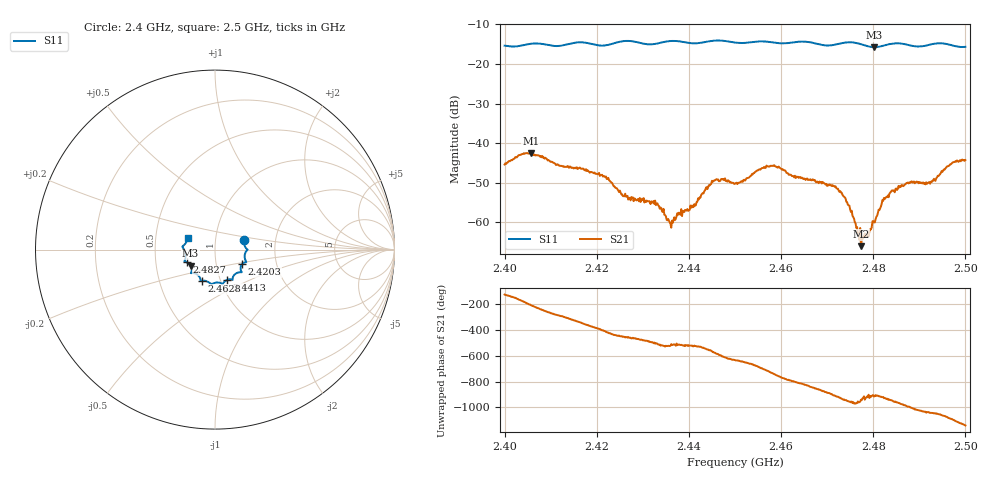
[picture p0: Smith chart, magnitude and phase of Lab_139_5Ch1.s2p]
# Hz S RI R 50
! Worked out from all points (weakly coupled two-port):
!   601 points, 2.4 GHz to 2.5 GHz, reference 50 ohm
!   highest |S21| = -42.49 dB at 2.4057 GHz (marker M1); lowest = -66.0 dB at 2.4773 GHz (marker M2)
!   lowest |S11| = -15.8 dB at 2.4802 GHz (marker M3), VSWR 1.39, Z = 37.5 - j6.9 ohm
!   |S11| at or under -10 dB: start of sweep to end of sweep
!   S12 and S22 are empty: the file has one direction only
!   S11 on the Smith chart (normalised r, x): 2.4 GHz: 1.38, +0.15; 2.4203 GHz: 1.34, -0.22; 2.4413 GHz: 1.08, -0.38; 2.4628 GHz: 0.82, -0.29; 2.4827 GHz: 0.72, -0.10; 2.5 GHz: 0.73, +0.10
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2.4e9  0.1617 0.0529  -0.00297 -0.00448  0 0  0 0
2.405667e9  0.1795 0.00178  -0.00679 0.00321  0 0  0 0
2.416667e9  0.1742 -0.0693  0.00456 0.00133  0 0  0 0
2.420333e9  0.1521 -0.0794  0.00361 -0.0019  0 0  0 0
2.426833e9  0.1489 -0.1261  -0.00012 -0.00194  0 0  0 0
2.433333e9  0.1001 -0.1521  -0.00144 -0.000782  0 0  0 0
2.436167e9  0.0981 -0.1682  -0.000737 -0.00044  0 0  0 0
2.441333e9  0.067 -0.1691  -0.00156 -0.00046  0 0  0 0
2.4455e9  0.043 -0.192  -0.00278 0.00194  0 0  0 0
2.45e9  0.0244 -0.1845  0.000139 0.00307  0 0  0 0
2.457333e9  -0.0257 -0.1882  0.00506 -3.15e-05  0 0  0 0
2.462833e9  -0.072 -0.1735  0.000659 -0.00365  0 0  0 0
2.466667e9  -0.0806 -0.1676  -0.00187 -0.00284  0 0  0 0
2.472833e9  -0.1258 -0.1301  -0.00218 0.00119  0 0  0 0
2.477333e9  -0.1299 -0.1208  -0.000379 0.000329  0 0  0 0
2.480167e9  -0.1358 -0.0896  -0.000961 0.000275  0 0  0 0
2.482667e9  -0.1578 -0.0706  -0.00175 0.00104  0 0  0 0
2.483333e9  -0.163 -0.0682  -0.00167 0.00124  0 0  0 0
2.487833e9  -0.1652 -0.0493  0.000312 0.00318  0 0  0 0
2.492167e9  -0.1745 0.00384  0.00251 0.00202  0 0  0 0
2.497167e9  -0.1689 0.0293  0.00552 -0.00129  0 0  0 0
2.5e9  -0.1512 0.0647  0.00299 -0.00533  0 0  0 0
